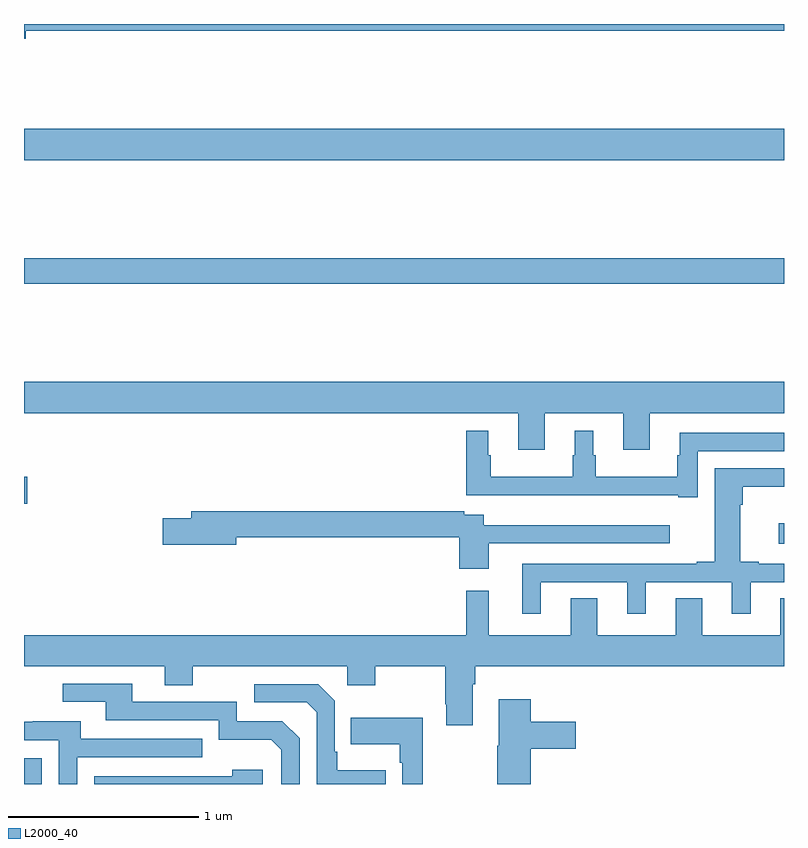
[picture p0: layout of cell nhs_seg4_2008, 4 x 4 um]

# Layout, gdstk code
import gdstk
lib = gdstk.Library(unit=1e-6, precision=1e-09)
def R(c, l, rs):  # rectangles x0, y0, x1, y1
    for r in rs: c.add(gdstk.rectangle(r[:2], r[2:], *l))
def P(c, l, *ps):  # polygons
    for p in ps: c.add(gdstk.Polygon(p, *l))
L2000_40 = (2000, 40)

nhs_seg4_2008 = lib.new_cell('nhs_seg4_2008')
R(nhs_seg4_2008, L2000_40, [(215,762.9,215.094,763.036), (218.973,764.165,219,764.272), (215,764.375,215.017,764.517), (215,765.532,219,765.668), (215,766.184,219,766.348)])
P(nhs_seg4_2008, L2000_40, [(215.008,766.864),(219,766.864),(219,766.9),(215,766.9),(215,766.822),(215.008,766.822)],
  [(217.741,764.852),(218.153,764.852),(218.153,764.658),(218.293,764.658),(218.293,764.852),(219,764.852),(219,765.016),(215,765.016),(215,764.852),(217.601,764.852),(217.601,764.658),(217.741,764.658)],
  [(218.547,764.652),(219,764.652),(219,764.748),(218.45,764.748),(218.45,764.63),(218.439,764.63),(218.439,764.518),(218.008,764.518),(218.008,764.63),(217.996,764.63),(217.996,764.758),(217.898,764.758),(217.898,764.63),(217.887,764.63),(217.887,764.518),(217.456,764.518),(217.456,764.63),(217.444,764.63),(217.444,764.758),(217.327,764.758),(217.327,764.421),(217.45,764.421),(217.45,764.42),(218.444,764.42),(218.444,764.409),(218.547,764.409)],
  [(217.72,763.962),(218.174,763.962),(218.174,763.797),(218.272,763.797),(218.272,763.962),(218.726,763.962),(218.726,763.797),(218.824,763.797),(218.824,763.962),(219,763.962),(219,764.058),(218.866,764.058),(218.866,764.071),(218.77,764.071),(218.77,764.369),(218.783,764.369),(218.783,764.465),(219,764.465),(219,764.562),(218.636,764.562),(218.636,764.071),(218.54,764.071),(218.54,764.058),(217.622,764.058),(217.622,763.797),(217.72,763.797)],
  [(217.447,764.166),(218.398,764.166),(218.398,764.263),(217.42,764.263),(217.42,764.316),(217.316,764.316),(217.316,764.336),(215.879,764.336),(215.879,764.3),(215.73,764.3),(215.73,764.158),(216.118,764.158),(216.118,764.2),(217.292,764.2),(217.292,764.034),(217.447,764.034)],
  [(219,763.877),(218.981,763.877),(218.981,763.684),(218.569,763.684),(218.569,763.877),(218.429,763.877),(218.429,763.684),(218.017,763.684),(218.017,763.877),(217.877,763.877),(217.877,763.684),(217.445,763.684),(217.445,763.918),(217.327,763.918),(217.327,763.684),(215,763.684),(215,763.52),(215.741,763.52),(215.741,763.421),(215.889,763.421),(215.889,763.52),(216.702,763.52),(216.702,763.421),(216.849,763.421),(216.849,763.52),(217.216,763.52),(217.216,763.321),(217.223,763.321),(217.223,763.209),(217.363,763.209),(217.363,763.424),(217.376,763.424),(217.376,763.52),(219,763.52)],
  [(216.45,763.14),(216.36,763.23),(216.12,763.23),(216.12,763.332),(215.569,763.332),(215.569,763.428),(215.205,763.428),(215.205,763.332),(215.429,763.332),(215.429,763.236),(216.024,763.236),(216.024,763.133),(216.301,763.133),(216.354,763.08),(216.354,762.9),(216.45,762.9)],
  [(216.905,762.973),(216.649,762.973),(216.649,763.069),(216.636,763.069),(216.636,763.338),(216.549,763.425),(216.213,763.425),(216.213,763.329),(216.489,763.329),(216.54,763.278),(216.54,762.9),(216.905,762.9)],
  [(217.667,763.085),(217.903,763.085),(217.903,763.227),(217.667,763.227),(217.667,763.345),(217.499,763.345),(217.499,763.101),(217.492,763.101),(217.492,762.9),(217.667,762.9)],
  [(217.099,763.249),(216.721,763.249),(216.721,763.109),(216.978,763.109),(216.978,763.013),(216.99,763.013),(216.99,762.9),(217.099,762.9)],
  [(215.28,763.041),(215.939,763.041),(215.939,763.137),(215.299,763.137),(215.299,763.231),(215.045,763.231),(215.045,763.227),(215,763.227),(215,763.131),(215.184,763.131),(215.184,762.9),(215.28,762.9)],
  [(216.256,762.976),(216.095,762.976),(216.095,762.942),(215.37,762.942),(215.37,762.9),(216.256,762.9)])

lib.write_gds('nhs_seg4_2008.gds')
